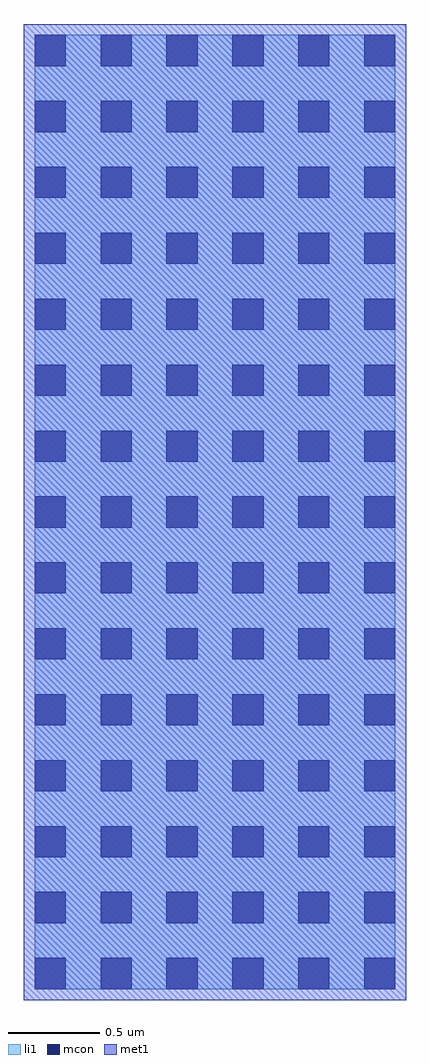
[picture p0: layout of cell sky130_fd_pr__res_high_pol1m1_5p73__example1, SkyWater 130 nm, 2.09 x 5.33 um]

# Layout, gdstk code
import gdstk
lib = gdstk.Library(unit=1e-6, precision=1e-09)
def R(c, l, rs):  # rectangles x0, y0, x1, y1
    for r in rs: c.add(gdstk.rectangle(r[:2], r[2:], *l))
def A(c, l, x, y, w, h, nx, ny, dx, dy):  # array of equal rectangles
    R(c, l, [(x+i*dx, y+j*dy, x+i*dx+w, y+j*dy+h) for i in range(nx) for j in range(ny)])
li1 = (67, 20)
mcon = (67, 44)
met1 = (68, 20)

sky130_fd_pr__res_high_p = lib.new_cell('sky130_fd_pr__res_high_pol1m1_5p73__example1')
R(sky130_fd_pr__res_high_p, li1, [(0,0,1.97,5.21)])
A(sky130_fd_pr__res_high_p, mcon, 0, 0, 0.17, 0.17, 6, 15, 0.36, 0.36)
R(sky130_fd_pr__res_high_p, met1, [(-0.06,-0.06,2.03,5.27)])

lib.write_gds('sky130_fd_pr__res_high_pol1m1_5p73__example1.gds')
